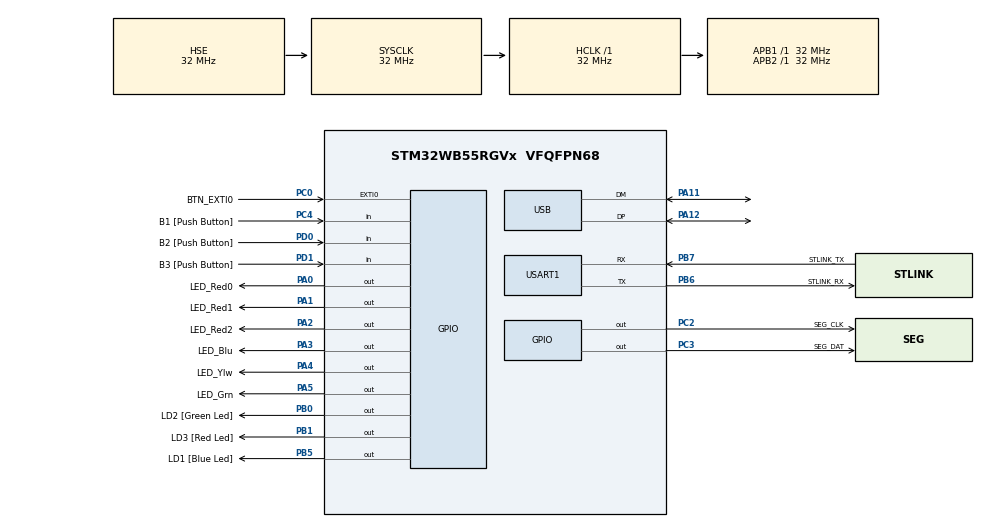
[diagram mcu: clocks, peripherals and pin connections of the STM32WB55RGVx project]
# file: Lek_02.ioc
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Mcu.Family=STM32WB
RCC.CortexFreq_Value=32000000
RCC.SMPSCLockSelectionVirtualVirtual=RCC_SMPSCLKSOURCE_HSI
USART1.WordLength=WORDLENGTH_7B
PA14.GPIO_Label=JTCK
PA0.GPIO_Label=LED_Red0
PC0.GPIO_Label=BTN_EXTI0
PD0.GPIO_Label=B2 [Push Button]
PA11.Mode=Device
PB0.GPIO_Label=LD2 [Green Led]
PB6.GPIO_Label=STLINK_RX
PC2.GPIO_Speed=GPIO_SPEED_FREQ_VERY_HIGH
PC3.GPIO_Speed=GPIO_SPEED_FREQ_VERY_HIGH
RCC.SYSCLKSource=RCC_SYSCLKSOURCE_HSE
ProjectManager.StackSize=0x400
PC3.PinState=GPIO_PIN_SET
PA12.Signal=USB_DP
TIM1.Prescaler=31
RCC.HCLKFreq_Value=32000000
RCC.APB2TimFreq_Value=32000000
PB6.Signal=USART1_TX
PB6.Mode=Asynchronous
PC3.Signal=GPIO_Output
PD0.Signal=GPIO_Input
OSC_OUT.Mode=HSE-External-Oscillator
OSC_OUT.Signal=RCC_OSC_OUT
RCC.AHBFreq_Value=32000000
RCC.HSE_VALUE=32000000
PB3.Mode=Trace_Asynchronous_SW
PD1.GPIO_Label=B3 [Push Button]
PC14-OSC32_IN.Mode=LSE-External-Oscillator
PC4.GPIO_Label=B1 [Push Button]
PA14.Mode=Trace_Asynchronous_SW
PB1.GPIO_Label=LD3 [Red Led]
PB7.Signal=USART1_RX
VP_TIM1_VS_ClockSourceINT.Mode=Internal
PA0.Signal=GPIO_Output
RCC.APB3Freq_Value=16000000
PB7.GPIO_Label=STLINK_TX
Mcu.Package=VFQFPN68
PB1.Signal=GPIO_Output
PA2.GPIO_Label=LED_Red2
PB5.GPIO_Label=LD1 [Blue Led]
PC2.GPIO_ModeDefaultOutputPP=GPIO_MODE_OUTPUT_OD
RCC.APB1TimFreq_Value=32000000
TIM1.Period=999
PC0.GPIO_PuPd=GPIO_PULLDOWN
RCC.SMPSDivider=1
PA4.GPIO_Label=LED_Ylw
PC2.GPIO_Label=SEG_CLK
RCC.HSI48_VALUE=48000000
RCC.PLLSAI1N=24
PA3.Signal=GPIO_Output
PB3.GPIO_Label=JTDO
PB7.GPIO_PuPd=GPIO_PULLUP
PC15-OSC32_OUT.Mode=LSE-External-Oscillator
PC13.Signal=SYS_WKUP2
PB6.GPIO_PuPd=GPIO_PULLUP
PC2.Signal=GPIO_Output
PC4.Signal=GPIO_Input
PD1.Signal=GPIO_Input
PC0.Signal=GPXTI0
PC14-OSC32_IN.Signal=RCC_OSC32_IN
USART1.VirtualMode-Asynchronous=VM_ASYNC
PA13.Signal=SYS_JTMS-SWDIO
ProjectManager.TargetToolchain=STM32CubeIDE
OSC_IN.Signal=RCC_OSC_IN
RCC.USBFreq_Value=48000000
PC15-OSC32_OUT.Signal=RCC_OSC32_OUT
PA1.Signal=GPIO_Output
PA5.Signal=GPIO_Output
RCC.SMPSCLockSelectionVirtual=RCC_SMPSCLKSOURCE_HSI
board=NUCLEO-WB55RG
RCC.VCOOutputFreq_Value=128000000
RCC.APB2Freq_Value=32000000
RCC.ADCFreq_Value=48000000
PA1.GPIO_Label=LED_Red1
PC2.GPIO_PuPd=GPIO_PULLUP
PC13.Mode=SYS_WakeUp1
PA13.Mode=Trace_Asynchronous_SW
Mcu.Name=STM32WB55RGVx
PA2.Signal=GPIO_Output
PA13.GPIO_Label=JTMS
PB3.Signal=SYS_JTDO-SWO
NVIC.EXTI0_IRQn=true\:0\:0\:false\:false\:true\:true\:true
PA4.Signal=GPIO_Output
RCC.SYSCLKFreq_VALUE=32000000
PB5.Signal=GPIO_Output
PC2.PinState=GPIO_PIN_SET
PA12.Mode=Device
PA5.GPIO_Label=LED_Grn
OSC_IN.Mode=HSE-External-Oscillator
PB7.Mode=Asynchronous
PA11.Signal=USB_DM
PA14.Signal=SYS_JTCK-SWCLK
ProjectManager.HeapSize=0x200
RCC.HSI_VALUE=16000000
NVIC.TIM1_UP_TIM16_IRQn=true\:0\:0\:false\:false\:true\:true\:true
NVIC.PriorityGroup=NVIC_PRIORITYGROUP_4
RCC.PLLN=32
PC3.GPIO_Label=SEG_DAT
PC3.GPIO_ModeDefaultOutputPP=GPIO_MODE_OUTPUT_OD
RCC.APB1Freq_Value=32000000
PB0.Signal=GPIO_Output
PC3.GPIO_PuPd=GPIO_PULLUP
PA3.GPIO_Label=LED_Blu

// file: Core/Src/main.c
/* USER CODE BEGIN Header */
/**
  ******************************************************************************
  * @file           : main.c
  * @brief          : Main program body
  ******************************************************************************
  * @attention
  *
  * <h2><center>&copy; Copyright (c) 2021 STMicroelectronics.
  * All rights reserved.</center></h2>
  *
  * This software component is licensed by ST under BSD 3-Clause license,
  * the "License"; You may not use this file except in compliance with the
  * License. You may obtain a copy of the License at:
  *                        opensource.org/licenses/BSD-3-Clause
  *
  ******************************************************************************
  */
/* USER CODE END Header */
#include "main.h"

/* USER CODE BEGIN Includes */
#include "SevenSeg.h"
#include <stdlib.h>
/* USER CODE END Includes */

/* USER CODE BEGIN PM */

//counters
int timeCounter = 0;
int red_WaitCounter = 0;
int bounce_WaitCounter = 0;
int randomCounter = 0;

//other global integers
int red_WaitTime = 0;
int highScore = 9999;

//states
int LED_state = 0;
int nextState = 0;

//enums
enum {FALSE, TRUE};//boolean
enum {Ylw, Red1, Red2, Red3, Blu, Grn}; //Led-states

//booleans
int recordTime = FALSE; //true = system records the time (blue light on)
int redState = FALSE; //true = system is in ready-steady-go-state (red lights)
int waitOk = TRUE; //true = button is activated. De-bounce purpose
int newHS = FALSE;

//functions

int randomInt(int min, int max){
	return (rand() % (max-min)) + min;
}

void displayFourDigitNr(int nr){
	int digits[4];
	for(int i = 0; i < 4; i++){
		digits[i] = nr % 10;
		nr /= 10;
	}
	DisplayDigits(digits[3], digits[2], digits[1], digits[0], 0);
}

void gameState(int state){

	switch(state){
	case Ylw: //Warning state (Yellow light only)
		HAL_GPIO_WritePin(LED_Ylw_GPIO_Port, LED_Ylw_Pin, SET);

		HAL_GPIO_WritePin(LED_Red0_GPIO_Port, LED_Red0_Pin, RESET);
		HAL_GPIO_WritePin(LED_Red1_GPIO_Port, LED_Red1_Pin, RESET);
		HAL_GPIO_WritePin(LED_Red2_GPIO_Port, LED_Red2_Pin, RESET);
		HAL_GPIO_WritePin(LED_Blu_GPIO_Port, LED_Blu_Pin, RESET);
		HAL_GPIO_WritePin(LED_Grn_GPIO_Port, LED_Grn_Pin, RESET);

		displayFourDigitNr(highScore);
		nextState = Red1;
		break;
	case Red1: //Steady state1 (One Red light)
		HAL_GPIO_WritePin(LED_Red0_GPIO_Port, LED_Red0_Pin, SET);
		HAL_GPIO_WritePin(LED_Red1_GPIO_Port, LED_Red1_Pin, RESET);
		HAL_GPIO_WritePin(LED_Red2_GPIO_Port, LED_Red2_Pin, RESET);

		HAL_GPIO_WritePin(LED_Ylw_GPIO_Port, LED_Ylw_Pin, RESET);
		HAL_GPIO_WritePin(LED_Blu_GPIO_Port, LED_Blu_Pin, RESET);
		HAL_GPIO_WritePin(LED_Grn_GPIO_Port, LED_Grn_Pin, RESET);

		timeCounter = 0;
		red_WaitCounter = RESET;

		red_WaitTime = 1000;

		displayFourDigitNr(timeCounter);

		redState = TRUE;
		nextState = Red2;
		break;
	case Red2: //Steady state2 (Two Red Lights)
		HAL_GPIO_WritePin(LED_Red0_GPIO_Port, LED_Red0_Pin, SET);
		HAL_GPIO_WritePin(LED_Red1_GPIO_Port, LED_Red1_Pin, SET);
		HAL_GPIO_WritePin(LED_Red2_GPIO_Port, LED_Red2_Pin, RESET);

		HAL_GPIO_WritePin(LED_Ylw_GPIO_Port, LED_Ylw_Pin, RESET);
		HAL_GPIO_WritePin(LED_Blu_GPIO_Port, LED_Blu_Pin, RESET);
		HAL_GPIO_WritePin(LED_Grn_GPIO_Port, LED_Grn_Pin, RESET);

		red_WaitCounter = RESET;

		red_WaitTime = 1000;

		nextState = Red3;
		break;
	case Red3: //Steady state3 (All red lights)
		HAL_GPIO_WritePin(LED_Red0_GPIO_Port, LED_Red0_Pin, SET);
		HAL_GPIO_WritePin(LED_Red1_GPIO_Port, LED_Red1_Pin, SET);
		HAL_GPIO_WritePin(LED_Red2_GPIO_Port, LED_Red2_Pin, SET);

		HAL_GPIO_WritePin(LED_Ylw_GPIO_Port, LED_Ylw_Pin, RESET);
		HAL_GPIO_WritePin(LED_Blu_GPIO_Port, LED_Blu_Pin, RESET);
		HAL_GPIO_WritePin(LED_Grn_GPIO_Port, LED_Grn_Pin, RESET);

		red_WaitCounter = RESET;

		int delayMin = 1000;
		int delayMax = 5000;
		red_WaitTime = randomInt(delayMin, delayMax);

		nextState = Blu;
		break;
	case Blu: //Game state (Only Blue)
		HAL_GPIO_WritePin(LED_Blu_GPIO_Port, LED_Blu_Pin, SET);

		HAL_GPIO_WritePin(LED_Red0_GPIO_Port, LED_Red0_Pin, RESET);
		HAL_GPIO_WritePin(LED_Red1_GPIO_Port, LED_Red1_Pin, RESET);
		HAL_GPIO_WritePin(LED_Red2_GPIO_Port, LED_Red2_Pin, RESET);
		HAL_GPIO_WritePin(LED_Ylw_GPIO_Port, LED_Ylw_Pin, RESET);
		HAL_GPIO_WritePin(LED_Grn_GPIO_Port, LED_Grn_Pin, RESET);

		redState = FALSE;
		recordTime = TRUE;
		nextState = Grn;
		break;

	case Grn: //Goal state (Only Green
		HAL_GPIO_WritePin(LED_Grn_GPIO_Port, LED_Grn_Pin, SET);

		HAL_GPIO_WritePin(LED_Red0_GPIO_Port, LED_Red0_Pin, RESET);
		HAL_GPIO_WritePin(LED_Red1_GPIO_Port, LED_Red1_Pin, RESET);
		HAL_GPIO_WritePin(LED_Red2_GPIO_Port, LED_Red2_Pin, RESET);
		HAL_GPIO_WritePin(LED_Blu_GPIO_Port, LED_Blu_Pin, RESET);
		HAL_GPIO_WritePin(LED_Ylw_GPIO_Port, LED_Ylw_Pin, RESET);

		displayFourDigitNr(timeCounter);
		if(timeCounter < highScore){
			highScore = timeCounter;
			newHS = TRUE;
		}
		recordTime = FALSE;
		nextState = Ylw;
		break;

	default: //No LED
		HAL_GPIO_WritePin(LED_Ylw_GPIO_Port, LED_Ylw_Pin, RESET);
		HAL_GPIO_WritePin(LED_Red0_GPIO_Port, LED_Red0_Pin, RESET);
		HAL_GPIO_WritePin(LED_Red1_GPIO_Port, LED_Red1_Pin, RESET);
		HAL_GPIO_WritePin(LED_Red2_GPIO_Port, LED_Red2_Pin, RESET);
		HAL_GPIO_WritePin(LED_Blu_GPIO_Port, LED_Blu_Pin, RESET);
		HAL_GPIO_WritePin(LED_Grn_GPIO_Port, LED_Grn_Pin, RESET);
		break;

	}
}

void toNextState(){
		LED_state = nextState;
		gameState(LED_state);
}

//External interrupts

void HAL_GPIO_EXTI_Callback(uint16_t GPIO_Pin){
	if(HAL_GPIO_ReadPin(BTN_EXTI0_GPIO_Port, BTN_EXTI0_Pin) && waitOk){

		waitOk = FALSE;
		bounce_WaitCounter = 0;

		if(redState){
			redState = FALSE;
			red_WaitCounter = RESET;
			gameState(Ylw);
		}
		else
			toNextState();
	}
}

void HAL_TIM_PeriodElapsedCallback(TIM_HandleTypeDef *htim){
	if(htim->Instance == TIM1){

		if(recordTime){
			if(++timeCounter == 9999){
				recordTime = FALSE;
				toNextState();
			}
		}

		if(redState){
			red_WaitCounter++;
			if(red_WaitCounter == red_WaitTime){
				toNextState();
			}

		}
		if (!waitOk){
			int bounceWait = 250;
			if(++bounce_WaitCounter == bounceWait){
				waitOk = TRUE;
			}
		}
	}
}

/* USER CODE END PM */

TIM_HandleTypeDef htim1;

UART_HandleTypeDef huart1;

PCD_HandleTypeDef hpcd_USB_FS;

void SystemClock_Config(void);
static void MX_GPIO_Init(void);
static void MX_USART1_UART_Init(void);
static void MX_USB_PCD_Init(void);
static void MX_TIM1_Init(void);

int main(void)
{

  /* MCU Configuration--------------------------------------------------------*/

  /* Reset of all peripherals, Initializes the Flash interface and the Systick. */
  HAL_Init();

  /* Configure the system clock */
  SystemClock_Config();

  /* Initialize all configured peripherals */
  MX_GPIO_Init();
  MX_USART1_UART_Init();
  MX_USB_PCD_Init();
  MX_TIM1_Init();

  /* Infinite loop */
  /* USER CODE BEGIN WHILE */

  HAL_TIM_Base_Start_IT(&htim1);
  displayFourDigitNr(timeCounter);
  gameState(LED_state);
  while (1)
  {

  }
    /* USER CODE END WHILE */

}

void SystemClock_Config(void)
{
  RCC_OscInitTypeDef RCC_OscInitStruct = {0};
  RCC_ClkInitTypeDef RCC_ClkInitStruct = {0};
  RCC_PeriphCLKInitTypeDef PeriphClkInitStruct = {0};

  /** Macro to configure the PLL multiplication factor
  */
  __HAL_RCC_PLL_PLLM_CONFIG(RCC_PLLM_DIV1);
  /** Macro to configure the PLL clock source
  */
  __HAL_RCC_PLL_PLLSOURCE_CONFIG(RCC_PLLSOURCE_MSI);
  /** Configure LSE Drive Capability
  */
  HAL_PWR_EnableBkUpAccess();
  __HAL_RCC_LSEDRIVE_CONFIG(RCC_LSEDRIVE_LOW);
  /** Configure the main internal regulator output voltage
  */
  __HAL_PWR_VOLTAGESCALING_CONFIG(PWR_REGULATOR_VOLTAGE_SCALE1);
  /** Initializes the RCC Oscillators according to the specified parameters
  * in the RCC_OscInitTypeDef structure.
  */
  RCC_OscInitStruct.OscillatorType = RCC_OSCILLATORTYPE_HSI|RCC_OSCILLATORTYPE_HSE
                              |RCC_OSCILLATORTYPE_LSE|RCC_OSCILLATORTYPE_MSI;
  RCC_OscInitStruct.HSEState = RCC_HSE_ON;
  RCC_OscInitStruct.LSEState = RCC_LSE_ON;
  RCC_OscInitStruct.HSIState = RCC_HSI_ON;
  RCC_OscInitStruct.MSIState = RCC_MSI_ON;
  RCC_OscInitStruct.HSICalibrationValue = RCC_HSICALIBRATION_DEFAULT;
  RCC_OscInitStruct.MSICalibrationValue = RCC_MSICALIBRATION_DEFAULT;
  RCC_OscInitStruct.MSIClockRange = RCC_MSIRANGE_6;
  RCC_OscInitStruct.PLL.PLLState = RCC_PLL_NONE;
  if (HAL_RCC_OscConfig(&RCC_OscInitStruct) != HAL_OK)
  {
    Error_Handler();
  }
  /** Configure the SYSCLKSource, HCLK, PCLK1 and PCLK2 clocks dividers
  */
  RCC_ClkInitStruct.ClockType = RCC_CLOCKTYPE_HCLK4|RCC_CLOCKTYPE_HCLK2
                              |RCC_CLOCKTYPE_HCLK|RCC_CLOCKTYPE_SYSCLK
                              |RCC_CLOCKTYPE_PCLK1|RCC_CLOCKTYPE_PCLK2;
  RCC_ClkInitStruct.SYSCLKSource = RCC_SYSCLKSOURCE_HSE;
  RCC_ClkInitStruct.AHBCLKDivider = RCC_SYSCLK_DIV1;
  RCC_ClkInitStruct.APB1CLKDivider = RCC_HCLK_DIV1;
  RCC_ClkInitStruct.APB2CLKDivider = RCC_HCLK_DIV1;
  RCC_ClkInitStruct.AHBCLK2Divider = RCC_SYSCLK_DIV1;
  RCC_ClkInitStruct.AHBCLK4Divider = RCC_SYSCLK_DIV1;

  if (HAL_RCC_ClockConfig(&RCC_ClkInitStruct, FLASH_LATENCY_1) != HAL_OK)
  {
    Error_Handler();
  }
  /** Initializes the peripherals clocks
  */
  PeriphClkInitStruct.PeriphClockSelection = RCC_PERIPHCLK_SMPS|RCC_PERIPHCLK_USART1
                              |RCC_PERIPHCLK_USB;
  PeriphClkInitStruct.PLLSAI1.PLLN = 24;
  PeriphClkInitStruct.PLLSAI1.PLLP = RCC_PLLP_DIV2;
  PeriphClkInitStruct.PLLSAI1.PLLQ = RCC_PLLQ_DIV2;
  PeriphClkInitStruct.PLLSAI1.PLLR = RCC_PLLR_DIV2;
  PeriphClkInitStruct.PLLSAI1.PLLSAI1ClockOut = RCC_PLLSAI1_USBCLK;
  PeriphClkInitStruct.Usart1ClockSelection = RCC_USART1CLKSOURCE_PCLK2;
  PeriphClkInitStruct.UsbClockSelection = RCC_USBCLKSOURCE_PLLSAI1;
  PeriphClkInitStruct.SmpsClockSelection = RCC_SMPSCLKSOURCE_HSI;
  PeriphClkInitStruct.SmpsDivSelection = RCC_SMPSCLKDIV_RANGE0;
  if (HAL_RCCEx_PeriphCLKConfig(&PeriphClkInitStruct) != HAL_OK)
  {
    Error_Handler();
  }
  /** Enable MSI Auto calibration
  */
  HAL_RCCEx_EnableMSIPLLMode();
}

static void MX_TIM1_Init(void)
{

  TIM_ClockConfigTypeDef sClockSourceConfig = {0};
  TIM_MasterConfigTypeDef sMasterConfig = {0};

  htim1.Instance = TIM1;
  htim1.Init.Prescaler = 31;
  htim1.Init.CounterMode = TIM_COUNTERMODE_UP;
  htim1.Init.Period = 999;
  htim1.Init.ClockDivision = TIM_CLOCKDIVISION_DIV1;
  htim1.Init.RepetitionCounter = 0;
  htim1.Init.AutoReloadPreload = TIM_AUTORELOAD_PRELOAD_DISABLE;
  if (HAL_TIM_Base_Init(&htim1) != HAL_OK)
  {
    Error_Handler();
  }
  sClockSourceConfig.ClockSource = TIM_CLOCKSOURCE_INTERNAL;
  if (HAL_TIM_ConfigClockSource(&htim1, &sClockSourceConfig) != HAL_OK)
  {
    Error_Handler();
  }
  sMasterConfig.MasterOutputTrigger = TIM_TRGO_RESET;
  sMasterConfig.MasterOutputTrigger2 = TIM_TRGO2_RESET;
  sMasterConfig.MasterSlaveMode = TIM_MASTERSLAVEMODE_DISABLE;
  if (HAL_TIMEx_MasterConfigSynchronization(&htim1, &sMasterConfig) != HAL_OK)
  {
    Error_Handler();
  }

}

static void MX_USART1_UART_Init(void)
{

  huart1.Instance = USART1;
  huart1.Init.BaudRate = 115200;
  huart1.Init.WordLength = UART_WORDLENGTH_7B;
  huart1.Init.StopBits = UART_STOPBITS_1;
  huart1.Init.Parity = UART_PARITY_NONE;
  huart1.Init.Mode = UART_MODE_TX_RX;
  huart1.Init.HwFlowCtl = UART_HWCONTROL_NONE;
  huart1.Init.OverSampling = UART_OVERSAMPLING_16;
  huart1.Init.OneBitSampling = UART_ONE_BIT_SAMPLE_DISABLE;
  huart1.Init.ClockPrescaler = UART_PRESCALER_DIV1;
  huart1.AdvancedInit.AdvFeatureInit = UART_ADVFEATURE_NO_INIT;
  if (HAL_UART_Init(&huart1) != HAL_OK)
  {
    Error_Handler();
  }
  if (HAL_UARTEx_SetTxFifoThreshold(&huart1, UART_TXFIFO_THRESHOLD_1_8) != HAL_OK)
  {
    Error_Handler();
  }
  if (HAL_UARTEx_SetRxFifoThreshold(&huart1, UART_RXFIFO_THRESHOLD_1_8) != HAL_OK)
  {
    Error_Handler();
  }
  if (HAL_UARTEx_DisableFifoMode(&huart1) != HAL_OK)
  {
    Error_Handler();
  }

}

static void MX_USB_PCD_Init(void)
{

  hpcd_USB_FS.Instance = USB;
  hpcd_USB_FS.Init.dev_endpoints = 8;
  hpcd_USB_FS.Init.speed = PCD_SPEED_FULL;
  hpcd_USB_FS.Init.phy_itface = PCD_PHY_EMBEDDED;
  hpcd_USB_FS.Init.Sof_enable = DISABLE;
  hpcd_USB_FS.Init.low_power_enable = DISABLE;
  hpcd_USB_FS.Init.lpm_enable = DISABLE;
  hpcd_USB_FS.Init.battery_charging_enable = DISABLE;
  if (HAL_PCD_Init(&hpcd_USB_FS) != HAL_OK)
  {
    Error_Handler();
  }

}

static void MX_GPIO_Init(void)
{
  GPIO_InitTypeDef GPIO_InitStruct = {0};

  /* GPIO Ports Clock Enable */
  __HAL_RCC_GPIOC_CLK_ENABLE();
  __HAL_RCC_GPIOA_CLK_ENABLE();
  __HAL_RCC_GPIOB_CLK_ENABLE();
  __HAL_RCC_GPIOD_CLK_ENABLE();

  /*Configure GPIO pin Output Level */
  HAL_GPIO_WritePin(GPIOC, SEG_CLK_Pin|SEG_DAT_Pin, GPIO_PIN_SET);

  /*Configure GPIO pin Output Level */
  HAL_GPIO_WritePin(GPIOA, LED_Red0_Pin|LED_Red1_Pin|LED_Red2_Pin|LED_Blu_Pin
                          |LED_Ylw_Pin|LED_Grn_Pin, GPIO_PIN_RESET);

  /*Configure GPIO pin Output Level */
  HAL_GPIO_WritePin(GPIOB, LD2_Pin|LD3_Pin|LD1_Pin, GPIO_PIN_RESET);

  /*Configure GPIO pin : BTN_EXTI0_Pin */
  GPIO_InitStruct.Pin = BTN_EXTI0_Pin;
  GPIO_InitStruct.Mode = GPIO_MODE_IT_RISING;
  GPIO_InitStruct.Pull = GPIO_PULLDOWN;
  HAL_GPIO_Init(BTN_EXTI0_GPIO_Port, &GPIO_InitStruct);

  /*Configure GPIO pins : SEG_CLK_Pin SEG_DAT_Pin */
  GPIO_InitStruct.Pin = SEG_CLK_Pin|SEG_DAT_Pin;
  GPIO_InitStruct.Mode = GPIO_MODE_OUTPUT_OD;
  GPIO_InitStruct.Pull = GPIO_PULLUP;
  GPIO_InitStruct.Speed = GPIO_SPEED_FREQ_VERY_HIGH;
  HAL_GPIO_Init(GPIOC, &GPIO_InitStruct);

  /*Configure GPIO pins : LED_Red0_Pin LED_Red1_Pin LED_Red2_Pin LED_Blu_Pin
                           LED_Ylw_Pin LED_Grn_Pin */
  GPIO_InitStruct.Pin = LED_Red0_Pin|LED_Red1_Pin|LED_Red2_Pin|LED_Blu_Pin
                          |LED_Ylw_Pin|LED_Grn_Pin;
  GPIO_InitStruct.Mode = GPIO_MODE_OUTPUT_PP;
  GPIO_InitStruct.Pull = GPIO_NOPULL;
  GPIO_InitStruct.Speed = GPIO_SPEED_FREQ_LOW;
  HAL_GPIO_Init(GPIOA, &GPIO_InitStruct);

  /*Configure GPIO pin : B1_Pin */
  GPIO_InitStruct.Pin = B1_Pin;
  GPIO_InitStruct.Mode = GPIO_MODE_INPUT;
  GPIO_InitStruct.Pull = GPIO_NOPULL;
  HAL_GPIO_Init(B1_GPIO_Port, &GPIO_InitStruct);

  /*Configure GPIO pins : LD2_Pin LD3_Pin LD1_Pin */
  GPIO_InitStruct.Pin = LD2_Pin|LD3_Pin|LD1_Pin;
  GPIO_InitStruct.Mode = GPIO_MODE_OUTPUT_PP;
  GPIO_InitStruct.Pull = GPIO_NOPULL;
  GPIO_InitStruct.Speed = GPIO_SPEED_FREQ_LOW;
  HAL_GPIO_Init(GPIOB, &GPIO_InitStruct);

  /*Configure GPIO pins : B2_Pin B3_Pin */
  GPIO_InitStruct.Pin = B2_Pin|B3_Pin;
  GPIO_InitStruct.Mode = GPIO_MODE_INPUT;
  GPIO_InitStruct.Pull = GPIO_NOPULL;
  HAL_GPIO_Init(GPIOD, &GPIO_InitStruct);

  /* EXTI interrupt init*/
  HAL_NVIC_SetPriority(EXTI0_IRQn, 0, 0);
  HAL_NVIC_EnableIRQ(EXTI0_IRQn);

}

void Error_Handler(void)
{
  __disable_irq();
  while (1)
  {
  }
}

/************************ (C) COPYRIGHT STMicroelectronics *****END OF FILE****/
